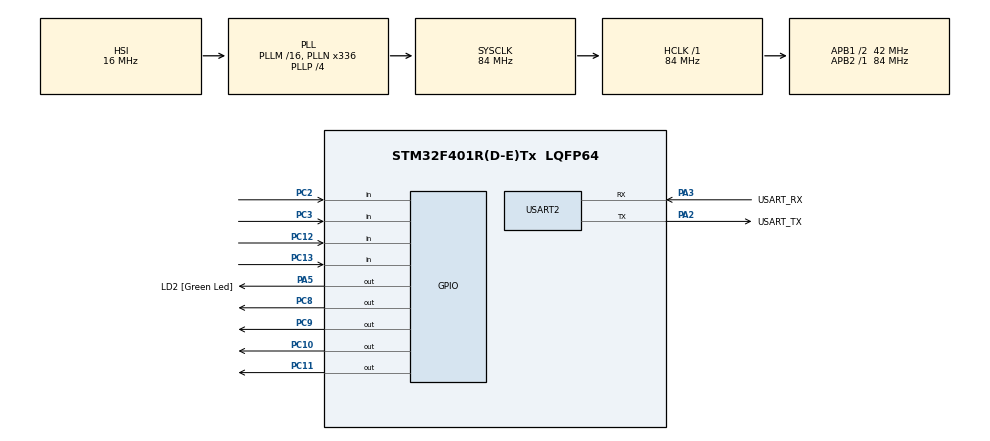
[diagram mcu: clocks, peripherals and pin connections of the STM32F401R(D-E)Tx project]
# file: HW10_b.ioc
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Mcu.Family=STM32F4
Mcu.Name=STM32F401R(D-E)Tx
Mcu.Package=LQFP64
NVIC.PriorityGroup=NVIC_PRIORITYGROUP_0
NVIC.TIM2_IRQn=true\:0\:0\:false\:false\:true\:true\:true\:true
PA13.GPIO_Label=TMS
PA13.Mode=Serial_Wire
PA13.Signal=SYS_JTMS-SWDIO
PA14.GPIO_Label=TCK
PA14.Mode=Serial_Wire
PA14.Signal=SYS_JTCK-SWCLK
PA2.GPIO_Label=USART_TX
PA2.GPIO_Mode=GPIO_MODE_AF_PP
PA2.GPIO_PuPd=GPIO_NOPULL
PA2.GPIO_Speed=GPIO_SPEED_FREQ_LOW
PA2.Mode=Asynchronous
PA2.Signal=USART2_TX
PA3.GPIO_Label=USART_RX
PA3.GPIO_Mode=GPIO_MODE_AF_PP
PA3.GPIO_PuPd=GPIO_NOPULL
PA3.GPIO_Speed=GPIO_SPEED_FREQ_LOW
PA3.Mode=Asynchronous
PA3.Signal=USART2_RX
PA5.GPIO_Label=LD2 [Green Led]
PA5.GPIO_Mode=GPIO_MODE_OUTPUT_PP
PA5.GPIO_PuPd=GPIO_NOPULL
PA5.GPIO_Speed=GPIO_SPEED_FREQ_LOW
PA5.Signal=GPIO_Output
PB3.GPIO_Label=SWO
PB3.Signal=SYS_JTDO-SWO
PC10.Signal=GPIO_Output
PC11.Signal=GPIO_Output
PC12.Signal=GPIO_Input
PC13-ANTI_TAMP.Signal=GPIO_Input
PC14-OSC32_IN.Mode=LSE-External-Oscillator
PC14-OSC32_IN.Signal=RCC_OSC32_IN
PC15-OSC32_OUT.Mode=LSE-External-Oscillator
PC15-OSC32_OUT.Signal=RCC_OSC32_OUT
PC2.Signal=GPIO_Input
PC3.Signal=GPIO_Input
PC8.Signal=GPIO_Output
PC9.Signal=GPIO_Output
PH0\ -\ OSC_IN.Mode=HSE-External-Clock-Source
PH0\ -\ OSC_IN.Signal=RCC_OSC_IN
PH1\ -\ OSC_OUT.Mode=HSE-External-Clock-Source
PH1\ -\ OSC_OUT.Signal=RCC_OSC_OUT
ProjectManager.HeapSize=0x200
ProjectManager.StackSize=0x400
ProjectManager.TargetToolchain=STM32CubeIDE
RCC.48MHZClocksFreq_Value=48000000
RCC.AHBFreq_Value=84000000
RCC.APB1CLKDivider=RCC_HCLK_DIV2
RCC.APB1Freq_Value=42000000
RCC.APB1TimFreq_Value=84000000
RCC.APB2Freq_Value=84000000
RCC.APB2TimFreq_Value=84000000
RCC.CortexFreq_Value=84000000
RCC.HCLKFreq_Value=84000000
RCC.HSE_VALUE=8000000
RCC.HSI_VALUE=16000000
RCC.PLLN=336
RCC.PLLP=RCC_PLLP_DIV4
RCC.PLLQ=7
RCC.SYSCLKFreq_VALUE=84000000
RCC.SYSCLKSource=RCC_SYSCLKSOURCE_PLLCLK
RCC.VCOOutputFreq_Value=336000000
TIM2.Period=84-1
TIM2.Prescaler=1000-1
USART2.VirtualMode=VM_ASYNC
VP_TIM2_VS_ClockSourceINT.Mode=Internal
board=NUCLEO-F401RE

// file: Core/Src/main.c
/* USER CODE BEGIN Header */
/**
 **************************
 * @file           : main.c
 * @brief          : Main program body
 **************************
 * @attention
 *
 * Copyright (c) 2022 STMicroelectronics.
 * All rights reserved.
 *
 * This software is licensed under terms that can be found in the LICENSE file
 * in the root directory of this software component.
 * If no LICENSE file comes with this software, it is provided AS-IS.
 *
 **************************
 */
/* USER CODE END Header */
#include "main.h"

TIM_HandleTypeDef htim2;

UART_HandleTypeDef huart2;

void SystemClock_Config(void);
static void MX_GPIO_Init(void);
static void MX_USART2_UART_Init(void);
static void MX_TIM2_Init(void);

/* USER CODE BEGIN 0 */
uint32_t GPIO_Pins_c[4] = {GPIO_PIN_11,GPIO_PIN_10,GPIO_PIN_9,GPIO_PIN_8};
uint32_t GPIO_Pins_r[4] = {GPIO_PIN_3,GPIO_PIN_2,GPIO_PIN_13,GPIO_PIN_12};
uint8_t pulsante[16];
char map[16] = "FB73EA62D951C840";
int lenght = 0;
int i=0;
uint32_t counter[16];

uint32_t valoreold[16];
uint32_t pulsante_print[16];
char string[64];
void HAL_TIM_PeriodElapsedCallback(TIM_HandleTypeDef *htim)
{
	for ( int j = 0; j<4;j++){
		pulsante[i*4+j] = HAL_GPIO_ReadPin(GPIOC, GPIO_Pins_r[j]);

		if(pulsante[i*4+j] == 0 && valoreold[i*4+j]== 1){
			pulsante_print[i*4+j] = 1;
			counter[i*4+j] = 0;
		}
		if(pulsante[i*4+j] == 0 && valoreold[i*4+j]== 0){
			counter[i*4+j] += 1;
		}
		if(pulsante[i*4+j] == 1 && valoreold[i*4+j]== 0){
			pulsante_print[i*4+j] = 2;
		}
		valoreold[i*4+j]=pulsante[i*4+j];
	}
	HAL_GPIO_WritePin(GPIOC, GPIO_Pins_c[i], 0);
	i++;
	if(i>3){
		i = 0;
	}
	HAL_GPIO_WritePin(GPIOC, GPIO_Pins_c[i], 1);
}

/* USER CODE END 0 */

int main(void)
{

  /* MCU Configuration--------------------------------------------------------*/

  /* Reset of all peripherals, Initializes the Flash interface and the Systick. */
  HAL_Init();

  /* Configure the system clock */
  SystemClock_Config();

  /* Initialize all configured peripherals */
  MX_GPIO_Init();
  MX_USART2_UART_Init();
  MX_TIM2_Init();

  /* Infinite loop */
  /* USER CODE BEGIN WHILE */
	HAL_GPIO_WritePin(GPIOC, GPIO_Pins_c[0], 0);
	HAL_TIM_Base_Start_IT(&htim2);
	while (1)
	{
		for (int k = 0; k<16;k++ ){
			if (pulsante_print[k] == 1 ){
				lenght = snprintf(string, sizeof(string), "Premuto : %c \r\n", map[k]);
				HAL_UART_Transmit(&huart2, string, lenght, 100);
				pulsante_print[k] = 0;
			}
			if (pulsante_print[k] == 2 ){
				lenght = snprintf(string, sizeof(string), "Rilasciato %c dopo  %d ms \r\n", map[k], counter[k]*4);
				HAL_UART_Transmit(&huart2, string, lenght, 100);
				pulsante_print[k] = 0;
			}
		}

    /* USER CODE END WHILE */

	}
}

void SystemClock_Config(void)
{
  RCC_OscInitTypeDef RCC_OscInitStruct = {0};
  RCC_ClkInitTypeDef RCC_ClkInitStruct = {0};

  /** Configure the main internal regulator output voltage
  */
  __HAL_RCC_PWR_CLK_ENABLE();
  __HAL_PWR_VOLTAGESCALING_CONFIG(PWR_REGULATOR_VOLTAGE_SCALE2);

  /** Initializes the RCC Oscillators according to the specified parameters
  * in the RCC_OscInitTypeDef structure.
  */
  RCC_OscInitStruct.OscillatorType = RCC_OSCILLATORTYPE_HSI;
  RCC_OscInitStruct.HSIState = RCC_HSI_ON;
  RCC_OscInitStruct.HSICalibrationValue = RCC_HSICALIBRATION_DEFAULT;
  RCC_OscInitStruct.PLL.PLLState = RCC_PLL_ON;
  RCC_OscInitStruct.PLL.PLLSource = RCC_PLLSOURCE_HSI;
  RCC_OscInitStruct.PLL.PLLM = 16;
  RCC_OscInitStruct.PLL.PLLN = 336;
  RCC_OscInitStruct.PLL.PLLP = RCC_PLLP_DIV4;
  RCC_OscInitStruct.PLL.PLLQ = 7;
  if (HAL_RCC_OscConfig(&RCC_OscInitStruct) != HAL_OK)
  {
    Error_Handler();
  }

  /** Initializes the CPU, AHB and APB buses clocks
  */
  RCC_ClkInitStruct.ClockType = RCC_CLOCKTYPE_HCLK|RCC_CLOCKTYPE_SYSCLK
                              |RCC_CLOCKTYPE_PCLK1|RCC_CLOCKTYPE_PCLK2;
  RCC_ClkInitStruct.SYSCLKSource = RCC_SYSCLKSOURCE_PLLCLK;
  RCC_ClkInitStruct.AHBCLKDivider = RCC_SYSCLK_DIV1;
  RCC_ClkInitStruct.APB1CLKDivider = RCC_HCLK_DIV2;
  RCC_ClkInitStruct.APB2CLKDivider = RCC_HCLK_DIV1;

  if (HAL_RCC_ClockConfig(&RCC_ClkInitStruct, FLASH_LATENCY_2) != HAL_OK)
  {
    Error_Handler();
  }
}

static void MX_TIM2_Init(void)
{

  TIM_ClockConfigTypeDef sClockSourceConfig = {0};
  TIM_MasterConfigTypeDef sMasterConfig = {0};

  htim2.Instance = TIM2;
  htim2.Init.Prescaler = 1000-1;
  htim2.Init.CounterMode = TIM_COUNTERMODE_UP;
  htim2.Init.Period = 84-1;
  htim2.Init.ClockDivision = TIM_CLOCKDIVISION_DIV1;
  htim2.Init.AutoReloadPreload = TIM_AUTORELOAD_PRELOAD_DISABLE;
  if (HAL_TIM_Base_Init(&htim2) != HAL_OK)
  {
    Error_Handler();
  }
  sClockSourceConfig.ClockSource = TIM_CLOCKSOURCE_INTERNAL;
  if (HAL_TIM_ConfigClockSource(&htim2, &sClockSourceConfig) != HAL_OK)
  {
    Error_Handler();
  }
  sMasterConfig.MasterOutputTrigger = TIM_TRGO_RESET;
  sMasterConfig.MasterSlaveMode = TIM_MASTERSLAVEMODE_DISABLE;
  if (HAL_TIMEx_MasterConfigSynchronization(&htim2, &sMasterConfig) != HAL_OK)
  {
    Error_Handler();
  }

}

static void MX_USART2_UART_Init(void)
{

  huart2.Instance = USART2;
  huart2.Init.BaudRate = 115200;
  huart2.Init.WordLength = UART_WORDLENGTH_8B;
  huart2.Init.StopBits = UART_STOPBITS_1;
  huart2.Init.Parity = UART_PARITY_NONE;
  huart2.Init.Mode = UART_MODE_TX_RX;
  huart2.Init.HwFlowCtl = UART_HWCONTROL_NONE;
  huart2.Init.OverSampling = UART_OVERSAMPLING_16;
  if (HAL_UART_Init(&huart2) != HAL_OK)
  {
    Error_Handler();
  }

}

static void MX_GPIO_Init(void)
{
  GPIO_InitTypeDef GPIO_InitStruct = {0};

  /* GPIO Ports Clock Enable */
  __HAL_RCC_GPIOC_CLK_ENABLE();
  __HAL_RCC_GPIOH_CLK_ENABLE();
  __HAL_RCC_GPIOA_CLK_ENABLE();
  __HAL_RCC_GPIOB_CLK_ENABLE();

  /*Configure GPIO pin Output Level */
  HAL_GPIO_WritePin(LD2_GPIO_Port, LD2_Pin, GPIO_PIN_RESET);

  /*Configure GPIO pin Output Level */
  HAL_GPIO_WritePin(GPIOC, GPIO_PIN_8|GPIO_PIN_9|GPIO_PIN_10|GPIO_PIN_11, GPIO_PIN_RESET);

  /*Configure GPIO pins : PC13 PC2 PC3 PC12 */
  GPIO_InitStruct.Pin = GPIO_PIN_13|GPIO_PIN_2|GPIO_PIN_3|GPIO_PIN_12;
  GPIO_InitStruct.Mode = GPIO_MODE_INPUT;
  GPIO_InitStruct.Pull = GPIO_NOPULL;
  HAL_GPIO_Init(GPIOC, &GPIO_InitStruct);

  /*Configure GPIO pin : LD2_Pin */
  GPIO_InitStruct.Pin = LD2_Pin;
  GPIO_InitStruct.Mode = GPIO_MODE_OUTPUT_PP;
  GPIO_InitStruct.Pull = GPIO_NOPULL;
  GPIO_InitStruct.Speed = GPIO_SPEED_FREQ_LOW;
  HAL_GPIO_Init(LD2_GPIO_Port, &GPIO_InitStruct);

  /*Configure GPIO pins : PC8 PC9 PC10 PC11 */
  GPIO_InitStruct.Pin = GPIO_PIN_8|GPIO_PIN_9|GPIO_PIN_10|GPIO_PIN_11;
  GPIO_InitStruct.Mode = GPIO_MODE_OUTPUT_PP;
  GPIO_InitStruct.Pull = GPIO_NOPULL;
  GPIO_InitStruct.Speed = GPIO_SPEED_FREQ_LOW;
  HAL_GPIO_Init(GPIOC, &GPIO_InitStruct);

}

void Error_Handler(void)
{
	__disable_irq();
	while (1)
	{
	}
}
